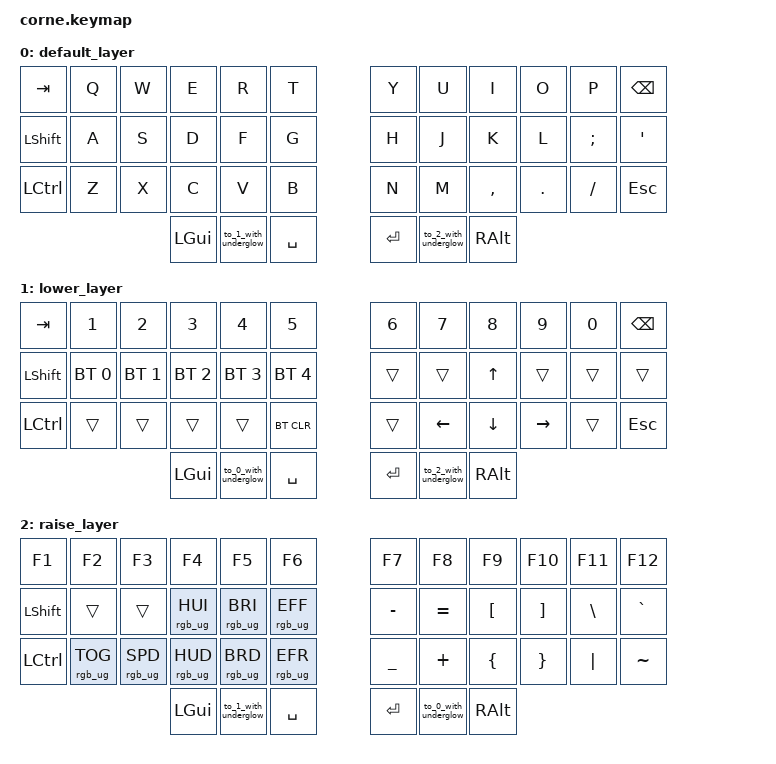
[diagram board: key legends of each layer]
/*
 * Copyright (c) 2020 The ZMK Contributors
 *
 * SPDX-License-Identifier: MIT
 */

#include <behaviors.dtsi>
#include <dt-bindings/zmk/bt.h>
#include <dt-bindings/zmk/keys.h>
#include <dt-bindings/zmk/rgb.h>

&led_strip { chain-length = <6>; };

/ {
    combos {
        compatible = "zmk,combos";

        clear_bt_co {
            bindings = <&kp LC(BACKSPACE)>;
            key-positions = <12 23>;
            layers = <1>;
        };
    };

    macros {
        to_0_with_underglow: to_0_with_underglow {
            compatible = "zmk,behavior-macro";
            #binding-cells = <0>;
            bindings = <&rgb_ug RGB_COLOR_HSB(0,0,100) &to 0>;
        };

        to_1_with_underglow: to_1_with_underglow {
            compatible = "zmk,behavior-macro";
            #binding-cells = <0>;
            bindings = <&rgb_ug RGB_COLOR_HSB(190,100,100) &to 1>;
        };

        to_2_with_underglow: to_2_with_underglow {
            compatible = "zmk,behavior-macro";
            #binding-cells = <0>;
            bindings = <&rgb_ug RGB_COLOR_HSB(40,100,100) &to 2>;
        };
    };

    keymap {
        compatible = "zmk,keymap";

        default_layer {
            // -----------------------------------------------------------------------------------------
            // |  TAB |  Q  |  W  |  E  |  R  |  T  |   |  Y  |  U   |  I  |  O  |  P  | BKSP |
            // | SHFT |  A  |  S  |  D  |  F  |  G  |   |  H  |  J   |  K  |  L  |  ;  |  '   |
            // | CTRL |  Z  |  X  |  C  |  V  |  B  |   |  N  |  M   |  ,  |  .  |  /  | ESC  |
            //                    | GUI | LWR | SPC |   | ENT | RSE  | ALT |

            bindings = <
&kp TAB     &kp Q  &kp W  &kp E     &kp R                 &kp T        &kp Y    &kp U                 &kp I      &kp O    &kp P     &kp BSPC
&kp LSHIFT  &kp A  &kp S  &kp D     &kp F                 &kp G        &kp H    &kp J                 &kp K      &kp L    &kp SEMI  &kp SQT
&kp LCTRL   &kp Z  &kp X  &kp C     &kp V                 &kp B        &kp N    &kp M                 &kp COMMA  &kp DOT  &kp FSLH  &kp ESC
                          &kp LGUI  &to_1_with_underglow  &kp SPACE    &kp RET  &to_2_with_underglow  &kp RALT
            >;
        };

        lower_layer {
            // -----------------------------------------------------------------------------------------
            // |  TAB |  1  |  2  |  3  |  4  |  5  |   |  6  |  7  |  8  |  9  |  0  | BKSP |
            // | SHFT | BT1 | BT2 | BT3 | BT4 | BT5 |   | LFT | DWN |  UP | RGT |     |      |
            // | CTRL |     |     |     |     |     |   |     |     |     |     |     |      |
            //                    | GUI |     | SPC |   | ENT |     | ALT |

            bindings = <
&kp TAB     &kp N1        &kp N2        &kp N3        &kp N4                &kp N5          &kp N6   &kp N7                &kp N8    &kp N9           &kp N0  &kp BSPC
&kp LSHIFT  &bt BT_SEL 0  &bt BT_SEL 1  &bt BT_SEL 2  &bt BT_SEL 3          &bt BT_SEL 4    &trans   &trans                &kp UP    &trans           &trans  &trans
&kp LCTRL   &trans        &trans        &trans        &trans                &bt BT_CLR      &trans   &kp LEFT_ARROW        &kp DOWN  &kp RIGHT_ARROW  &trans  &kp ESCAPE
                                        &kp LGUI      &to_0_with_underglow  &kp SPACE       &kp RET  &to_2_with_underglow  &kp RALT
            >;
        };

        raise_layer {
            // -----------------------------------------------------------------------------------------
            // |  TAB |  !  |  @  |  #  |  $  |  %  |   |  ^  |  &  |  *  |  (  |  )  | BKSP |
            // | SHFT |     |     |     |     |     |   |  -  |  =  |  [  |  ]  |  \  |  `   |
            // | CTRL |     |     |     |     |     |   |  _  |  +  |  {  |  }  | "|" |  ~   |
            //                    | GUI |     | SPC |   | ENT |     | ALT |

            bindings = <
&kp F1      &kp F2           &kp F3           &kp F4           &kp F5                &kp F6             &kp F7     &kp F8                &kp F9    &kp F10            &kp F11   &kp F12
&kp LSHIFT  &trans           &trans           &rgb_ug RGB_HUI  &rgb_ug RGB_BRI       &rgb_ug RGB_EFF    &kp MINUS  &kp EQUAL             &kp LBKT  &kp RIGHT_BRACKET  &kp BSLH  &kp GRAVE
&kp LCTRL   &rgb_ug RGB_TOG  &rgb_ug RGB_SPD  &rgb_ug RGB_HUD  &rgb_ug RGB_BRD       &rgb_ug RGB_EFR    &kp UNDER  &kp PLUS              &kp LBRC  &kp RBRC           &kp PIPE  &kp TILDE
                                              &kp LGUI         &to_1_with_underglow  &kp SPACE          &kp RET    &to_0_with_underglow  &kp RALT
            >;
        };
    };
};
